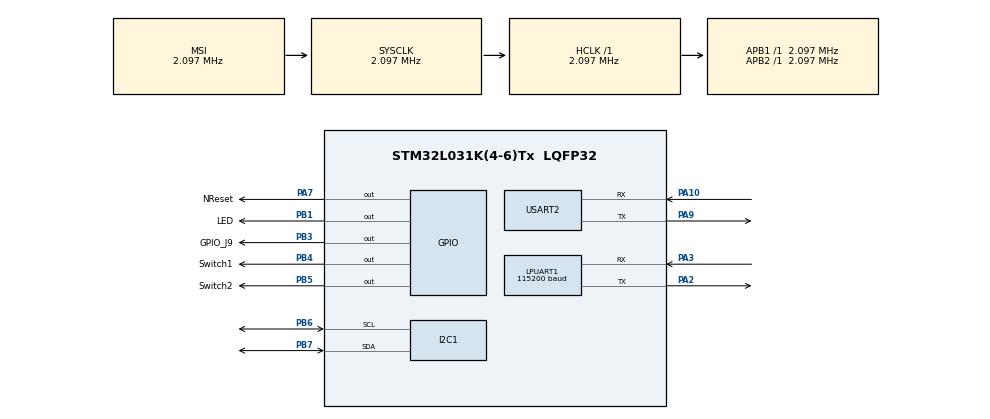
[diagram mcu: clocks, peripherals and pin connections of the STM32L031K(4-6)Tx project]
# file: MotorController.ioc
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I2C1.Timing=0x00000608
LPUART1.BaudRate=115200
LPUART1.WordLength=UART_WORDLENGTH_8B
Mcu.Family=STM32L0
Mcu.Name=STM32L031K(4-6)Tx
Mcu.Package=LQFP32
PA10.GPIO_PuPd=GPIO_PULLUP
PA10.Mode=Asynchronous
PA10.Signal=USART2_RX
PA13.Mode=Serial_Wire
PA13.Signal=SYS_SWDIO
PA14.Mode=Serial_Wire
PA14.Signal=SYS_SWCLK
PA2.Mode=Asynchronous
PA2.Signal=LPUART1_TX
PA3.Mode=Asynchronous
PA3.Signal=LPUART1_RX
PA7.GPIO_Label=NReset
PA7.GPIO_ModeDefaultOutputPP=GPIO_MODE_OUTPUT_PP
PA7.GPIO_PuPd=GPIO_NOPULL
PA7.PinState=GPIO_PIN_RESET
PA7.Signal=GPIO_Output
PA9.GPIO_PuPd=GPIO_PULLUP
PA9.Mode=Asynchronous
PA9.Signal=USART2_TX
PB1.GPIO_Label=LED
PB1.Signal=GPIO_Output
PB3.GPIO_Label=GPIO_J9
PB3.PinState=GPIO_PIN_RESET
PB3.Signal=GPIO_Output
PB4.GPIO_Label=Switch1
PB4.GPIO_ModeDefaultOutputPP=GPIO_MODE_OUTPUT_OD
PB4.GPIO_PuPd=GPIO_NOPULL
PB4.GPIO_Speed=GPIO_SPEED_FREQ_VERY_HIGH
PB4.PinState=GPIO_PIN_RESET
PB4.Signal=GPIO_Output
PB5.GPIO_Label=Switch2
PB5.GPIO_ModeDefaultOutputPP=GPIO_MODE_OUTPUT_OD
PB5.GPIO_PuPd=GPIO_NOPULL
PB5.GPIO_Speed=GPIO_SPEED_FREQ_VERY_HIGH
PB5.PinState=GPIO_PIN_RESET
PB5.Signal=GPIO_Output
PB6.GPIO_Pu=GPIO_PULLUP
PB6.Mode=I2C
PB6.Signal=I2C1_SCL
PB7.GPIO_Pu=GPIO_PULLUP
PB7.Mode=I2C
PB7.Signal=I2C1_SDA
ProjectManager.HeapSize=0x200
ProjectManager.StackSize=0x400
ProjectManager.TargetToolchain=STM32CubeIDE
RCC.AHBFreq_Value=2097000
RCC.APB1Freq_Value=2097000
RCC.APB1TimFreq_Value=2097000
RCC.APB2Freq_Value=2097000
RCC.APB2TimFreq_Value=2097000
RCC.HSE_VALUE=8000000
RCC.HSI16_VALUE=16000000
RCC.HSI_VALUE=16000000
RCC.LSE_VALUE=32768
RCC.MSI_VALUE=2097000
RCC.SYSCLKFreq_VALUE=2097000
RCC.VCOOutputFreq_Value=48000000
USART2.VirtualMode-Asynchronous=VM_ASYNC
board=custom

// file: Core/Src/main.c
/* USER CODE BEGIN Header */
/**
  ******************************************************************************
  * @file           : main.c
  * @brief          : Main program body
  ******************************************************************************
  * @attention
  *
  * Copyright (c) 2025 STMicroelectronics.
  * All rights reserved.
  *
  * This software is licensed under terms that can be found in the LICENSE file
  * in the root directory of this software component.
  * If no LICENSE file comes with this software, it is provided AS-IS.
  *
  ******************************************************************************
  */
/* USER CODE END Header */
#include "main.h"

/* USER CODE BEGIN Includes */
#include "pca9685.h"
//#include "adc_interrupt.h"
/* USER CODE END Includes */

I2C_HandleTypeDef hi2c1;

UART_HandleTypeDef hlpuart1;
UART_HandleTypeDef huart2;

void SystemClock_Config(void);
static void MX_GPIO_Init(void);
static void MX_I2C1_Init(void);
static void MX_LPUART1_UART_Init(void);
static void MX_USART2_UART_Init(void);

int main(void)
{

  /* MCU Configuration--------------------------------------------------------*/

  /* Reset of all peripherals, Initializes the Flash interface and the Systick. */
  HAL_Init();

  /* Configure the system clock */
  SystemClock_Config();

  /* Initialize all configured peripherals */
  MX_GPIO_Init();
  MX_I2C1_Init();
  MX_LPUART1_UART_Init();
  MX_USART2_UART_Init();
  /* USER CODE BEGIN 2 */
  pca9685_handle_t handle = {
      .i2c_handle = &hi2c1,
      .device_address = PCA9865_I2C_DEFAULT_DEVICE_ADDRESS,
      .inverted = false
  };

  // Initialize driver (performs basic setup).
  pca9685_init(&handle);
//  Nora_startup();
  // Set PWM frequency.
  // The frequency must be between 24Hz and 1526Hz.
  pca9685_set_pwm_frequency(&handle, 50.0f);
  //pca9685_set_channel_duty_cycle(&handle, 0, 0.2f, false);
  /* USER CODE END 2 */

  /* Infinite loop */
  /* USER CODE BEGIN WHILE */
////  Nora_startup();
//  for(int i = 0; i < 5;i++) {
//	  Nora_command("AT\r\n");
//	  HAL_GPIO_WritePin(LED_GPIO_Port, LED_Pin, GPIO_PIN_RESET);
//	  HAL_Delay(500);
//	  HAL_GPIO_WritePin(LED_GPIO_Port, LED_Pin, GPIO_PIN_SET);
//  }
//  while(1) {
//	  HAL_GPIO_WritePin(LED_GPIO_Port, LED_Pin, GPIO_PIN_RESET);
//	  HAL_Delay(500);
//	  HAL_GPIO_WritePin(LED_GPIO_Port, LED_Pin, GPIO_PIN_SET);
//  }
  while (1)
  {
//	  Nora_command("AT\r\n");

	  HAL_GPIO_WritePin(LED_GPIO_Port, LED_Pin, GPIO_PIN_RESET);

    /* USER CODE END WHILE */

    /* USER CODE BEGIN 3 */
	  uint8_t degrees[5];
	  uint8_t str_buffer[1] = "p";
//	  sprintf(str_buffer,"p");
	  // ask for new
	  HAL_UART_Transmit(&huart2,str_buffer,1,50);
	  if(HAL_UART_Receive(&huart2,degrees,5,50) == HAL_OK)  {

		  pca9685_set_channel_duty_cycle(&handle, 0, degrees[0]*.14/180.0+.01, false);
		  pca9685_set_channel_duty_cycle(&handle, 1, degrees[1]*.14/180.0+.01, false);
		  pca9685_set_channel_duty_cycle(&handle, 2, degrees[2]*.14/180.0+.01, false);
		  pca9685_set_channel_duty_cycle(&handle, 3, degrees[3]*.14/180.0+.01, false);
		  pca9685_set_channel_duty_cycle(&handle, 4, degrees[4]*.14/180.0+.01, false);
	  }
	  HAL_GPIO_WritePin(LED_GPIO_Port, LED_Pin, GPIO_PIN_SET);

  }
  /* USER CODE END 3 */
}

void SystemClock_Config(void)
{
  RCC_OscInitTypeDef RCC_OscInitStruct = {0};
  RCC_ClkInitTypeDef RCC_ClkInitStruct = {0};
  RCC_PeriphCLKInitTypeDef PeriphClkInit = {0};

  /** Configure the main internal regulator output voltage
  */
  __HAL_PWR_VOLTAGESCALING_CONFIG(PWR_REGULATOR_VOLTAGE_SCALE1);

  /** Initializes the RCC Oscillators according to the specified parameters
  * in the RCC_OscInitTypeDef structure.
  */
  RCC_OscInitStruct.OscillatorType = RCC_OSCILLATORTYPE_MSI;
  RCC_OscInitStruct.MSIState = RCC_MSI_ON;
  RCC_OscInitStruct.MSICalibrationValue = 0;
  RCC_OscInitStruct.MSIClockRange = RCC_MSIRANGE_5;
  RCC_OscInitStruct.PLL.PLLState = RCC_PLL_NONE;
  if (HAL_RCC_OscConfig(&RCC_OscInitStruct) != HAL_OK)
  {
    Error_Handler();
  }

  /** Initializes the CPU, AHB and APB buses clocks
  */
  RCC_ClkInitStruct.ClockType = RCC_CLOCKTYPE_HCLK|RCC_CLOCKTYPE_SYSCLK
                              |RCC_CLOCKTYPE_PCLK1|RCC_CLOCKTYPE_PCLK2;
  RCC_ClkInitStruct.SYSCLKSource = RCC_SYSCLKSOURCE_MSI;
  RCC_ClkInitStruct.AHBCLKDivider = RCC_SYSCLK_DIV1;
  RCC_ClkInitStruct.APB1CLKDivider = RCC_HCLK_DIV1;
  RCC_ClkInitStruct.APB2CLKDivider = RCC_HCLK_DIV1;

  if (HAL_RCC_ClockConfig(&RCC_ClkInitStruct, FLASH_LATENCY_0) != HAL_OK)
  {
    Error_Handler();
  }
  PeriphClkInit.PeriphClockSelection = RCC_PERIPHCLK_USART2|RCC_PERIPHCLK_LPUART1
                              |RCC_PERIPHCLK_I2C1;
  PeriphClkInit.Usart2ClockSelection = RCC_USART2CLKSOURCE_PCLK1;
  PeriphClkInit.Lpuart1ClockSelection = RCC_LPUART1CLKSOURCE_PCLK1;
  PeriphClkInit.I2c1ClockSelection = RCC_I2C1CLKSOURCE_PCLK1;
  if (HAL_RCCEx_PeriphCLKConfig(&PeriphClkInit) != HAL_OK)
  {
    Error_Handler();
  }
}

static void MX_I2C1_Init(void)
{

  hi2c1.Instance = I2C1;
  hi2c1.Init.Timing = 0x00000608;
  hi2c1.Init.OwnAddress1 = 0;
  hi2c1.Init.AddressingMode = I2C_ADDRESSINGMODE_7BIT;
  hi2c1.Init.DualAddressMode = I2C_DUALADDRESS_DISABLE;
  hi2c1.Init.OwnAddress2 = 0;
  hi2c1.Init.OwnAddress2Masks = I2C_OA2_NOMASK;
  hi2c1.Init.GeneralCallMode = I2C_GENERALCALL_DISABLE;
  hi2c1.Init.NoStretchMode = I2C_NOSTRETCH_DISABLE;
  if (HAL_I2C_Init(&hi2c1) != HAL_OK)
  {
    Error_Handler();
  }

  /** Configure Analogue filter
  */
  if (HAL_I2CEx_ConfigAnalogFilter(&hi2c1, I2C_ANALOGFILTER_ENABLE) != HAL_OK)
  {
    Error_Handler();
  }

  /** Configure Digital filter
  */
  if (HAL_I2CEx_ConfigDigitalFilter(&hi2c1, 0) != HAL_OK)
  {
    Error_Handler();
  }

}

static void MX_LPUART1_UART_Init(void)
{

  hlpuart1.Instance = LPUART1;
  hlpuart1.Init.BaudRate = 115200;
  hlpuart1.Init.WordLength = UART_WORDLENGTH_8B;
  hlpuart1.Init.StopBits = UART_STOPBITS_1;
  hlpuart1.Init.Parity = UART_PARITY_NONE;
  hlpuart1.Init.Mode = UART_MODE_TX_RX;
  hlpuart1.Init.HwFlowCtl = UART_HWCONTROL_NONE;
  hlpuart1.Init.OneBitSampling = UART_ONE_BIT_SAMPLE_DISABLE;
  hlpuart1.AdvancedInit.AdvFeatureInit = UART_ADVFEATURE_NO_INIT;
  if (HAL_UART_Init(&hlpuart1) != HAL_OK)
  {
    Error_Handler();
  }

}

static void MX_USART2_UART_Init(void)
{

  huart2.Instance = USART2;
  huart2.Init.BaudRate = 115200;
  huart2.Init.WordLength = UART_WORDLENGTH_8B;
  huart2.Init.StopBits = UART_STOPBITS_1;
  huart2.Init.Parity = UART_PARITY_NONE;
  huart2.Init.Mode = UART_MODE_TX_RX;
  huart2.Init.HwFlowCtl = UART_HWCONTROL_NONE;
  huart2.Init.OverSampling = UART_OVERSAMPLING_16;
  huart2.Init.OneBitSampling = UART_ONE_BIT_SAMPLE_DISABLE;
  huart2.AdvancedInit.AdvFeatureInit = UART_ADVFEATURE_NO_INIT;
  if (HAL_UART_Init(&huart2) != HAL_OK)
  {
    Error_Handler();
  }

}

static void MX_GPIO_Init(void)
{
  GPIO_InitTypeDef GPIO_InitStruct = {0};

  /* GPIO Ports Clock Enable */
  __HAL_RCC_GPIOA_CLK_ENABLE();
  __HAL_RCC_GPIOB_CLK_ENABLE();

  /*Configure GPIO pin Output Level */
  HAL_GPIO_WritePin(NReset_GPIO_Port, NReset_Pin, GPIO_PIN_RESET);

  /*Configure GPIO pin Output Level */
  HAL_GPIO_WritePin(GPIOB, LED_Pin|GPIO_J9_Pin|Switch1_Pin|Switch2_Pin, GPIO_PIN_RESET);

  /*Configure GPIO pin : NReset_Pin */
  GPIO_InitStruct.Pin = NReset_Pin;
  GPIO_InitStruct.Mode = GPIO_MODE_OUTPUT_PP;
  GPIO_InitStruct.Pull = GPIO_NOPULL;
  GPIO_InitStruct.Speed = GPIO_SPEED_FREQ_LOW;
  HAL_GPIO_Init(NReset_GPIO_Port, &GPIO_InitStruct);

  /*Configure GPIO pins : LED_Pin GPIO_J9_Pin */
  GPIO_InitStruct.Pin = LED_Pin|GPIO_J9_Pin;
  GPIO_InitStruct.Mode = GPIO_MODE_OUTPUT_PP;
  GPIO_InitStruct.Pull = GPIO_NOPULL;
  GPIO_InitStruct.Speed = GPIO_SPEED_FREQ_LOW;
  HAL_GPIO_Init(GPIOB, &GPIO_InitStruct);

  /*Configure GPIO pins : Switch1_Pin Switch2_Pin */
  GPIO_InitStruct.Pin = Switch1_Pin|Switch2_Pin;
  GPIO_InitStruct.Mode = GPIO_MODE_OUTPUT_OD;
  GPIO_InitStruct.Pull = GPIO_NOPULL;
  GPIO_InitStruct.Speed = GPIO_SPEED_FREQ_VERY_HIGH;
  HAL_GPIO_Init(GPIOB, &GPIO_InitStruct);

  /* USER CODE BEGIN MX_GPIO_Init_2 */
//  HAL_GPIO_WritePin(GPIOB, GPIO_J9_Pin|Switch1_Pin|Switch2_Pin, GPIO_PIN_SET);
//  HAL_GPIO_WritePin(NReset_GPIO_Port, NReset_Pin, GPIO_PIN_SET);
//  HAL_GPIO_WritePin(GPIOB, LED_Pin, GPIO_PIN_RESET);

  /* USER CODE END MX_GPIO_Init_2 */
}

void Error_Handler(void)
{
  __disable_irq();
  while (1)
  {
  }
}
